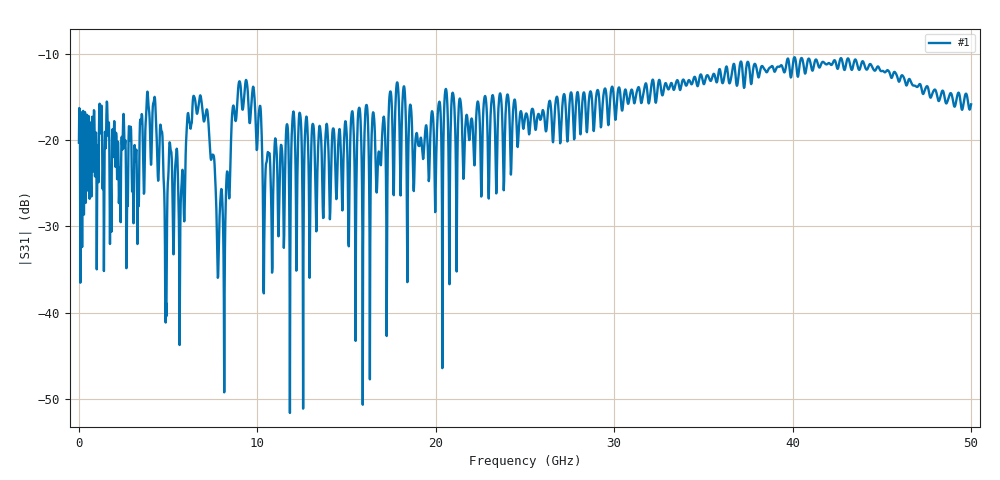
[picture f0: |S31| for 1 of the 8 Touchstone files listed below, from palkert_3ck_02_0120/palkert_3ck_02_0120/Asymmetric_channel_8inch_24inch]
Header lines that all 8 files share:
#	Hz	S	RI	R	50
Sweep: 20 MHz to 50 GHz
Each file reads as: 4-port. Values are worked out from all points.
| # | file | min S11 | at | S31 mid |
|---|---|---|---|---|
| 1 | FEXT_VL5_A4_OD-BP-Channel_8inch_24inch.s4p | -45.6 dB | 14.78 GHz | -17.3 dB at 25.02 GHz |
| 2 | FEXT_VL5_A6_OD-BP-Channel_8inch_24inch.s4p | -45.6 dB | 14.78 GHz | -17.3 dB at 25.02 GHz |
| 3 | FEXT_VL5_A7_OD-BP-Channel_8inch_24inch.s4p | -45.6 dB | 14.78 GHz | -17.3 dB at 25.02 GHz |
| 4 | FEXT_VL5_A8_OD-BP-Channel_8inch_24inch.s4p | -45.6 dB | 14.78 GHz | -17.3 dB at 25.02 GHz |
| 5 | FEXT_VL5_A9_OD-BP-Channel_8inch_24inch.s4p | -45.6 dB | 14.78 GHz | -17.3 dB at 25.02 GHz |
| 6 | NEXT_VL5_A1_OD-BP-Channel_8inch_24inch.s4p | -45.6 dB | 14.78 GHz | -17.3 dB at 25.02 GHz |
| 7 | NEXT_VL5_A2_OD-BP-Channel_8inch_24inch.s4p | -45.6 dB | 14.78 GHz | -17.3 dB at 25.02 GHz |
| 8 | THRU_VL5_OD-BP-Channel_8inch_24inch.s4p | -45.6 dB | 14.78 GHz | -17.3 dB at 25.02 GHz |
